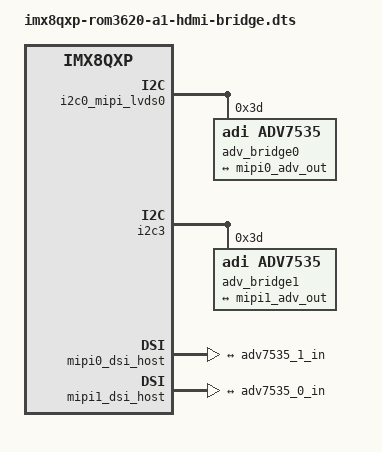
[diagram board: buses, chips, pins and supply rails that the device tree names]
/*
 * Copyright 2017-2019 Advantech
 *
 * This program is free software; you can redistribute it and/or
 * modify it under the terms of the GNU General Public License
 * as published by the Free Software Foundation; either version 2
 * of the License, or (at your option) any later version.
 *
 * This program is distributed in the hope that it will be useful,
 * but WITHOUT ANY WARRANTY; without even the implied warranty of
 * MERCHANTABILITY or FITNESS FOR A PARTICULAR PURPOSE.  See the
 * GNU General Public License for more details.
 */

#include "imx8qxp-rom3620-a1.dts"

&i2c0_mipi_lvds0 {
	adv_bridge0: adv7535@3d {
		#address-cells = <1>;
		#size-cells = <0>;

		compatible = "adi,adv7535";
		reg = <0x3d>;
		adi,addr-cec = <0x3b>;
		adi,dsi-lanes = <4>;
		adi,dsi-channel = <1>;
		status = "okay";

		port@0 {
			reg = <0>;
			adv7535_0_in: endpoint {
				remote-endpoint = <&mipi0_adv_out>;
			};
		};
	};
};

&i2c3 {
	adv_bridge1: adv7535@3d {
		#address-cells = <1>;
		#size-cells = <0>;

		compatible = "adi,adv7535";
		reg = <0x3d>;
		adi,addr-cec = <0x3b>;
		adi,dsi-lanes = <4>;
		adi,dsi-channel = <1>;
		status = "okay";

		port@0 {
			reg = <0>;
			adv7535_1_in: endpoint {
				remote-endpoint = <&mipi1_adv_out>;
			};
		};
	};
};

&ldb1 {
	status = "disabled";
};

&ldb2 {
	status = "disabled";
};

&mipi0_dsi_host {
	status = "okay";

	ports {
		port@1 {
			reg = <1>;
			mipi1_adv_out: endpoint {
				remote-endpoint = <&adv7535_1_in>;
			};
		};
	};
};

&mipi1_dsi_host {
	status = "okay";

	ports {
		port@1 {
			reg = <1>;
			mipi0_adv_out: endpoint {
				remote-endpoint = <&adv7535_0_in>;
			};
		};
	};
};
